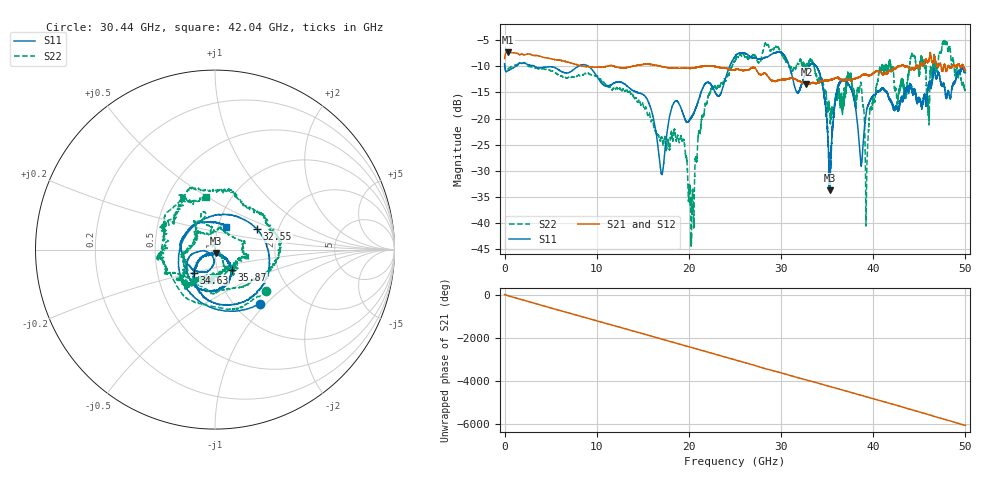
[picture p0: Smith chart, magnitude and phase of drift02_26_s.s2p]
!Created with skrf (http://scikit-rf.org).
# Hz S RI R 50.0
!freq ReS11 ImS11 ReS21 ImS21 ReS12 ImS12 ReS22 ImS22
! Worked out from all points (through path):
!   10001 points, 300 kHz to 50 GHz, reference 50 ohm
!   highest |S21| = -7.32 dB at 375.3 MHz (marker M1); lowest = -13.4 dB at 32.75 GHz (marker M2)
!   group delay of S21, straight-line fit = 335 ps
!   lowest |S11| = -33.8 dB at 35.31 GHz (marker M3), VSWR 1.04, Z = 50.5 - j2.01 ohm
!   |S11| at or under -10 dB: 3.235 GHz to 8.009 GHz (4.774 GHz wide, 84.9 % of centre); 9.104 GHz to 24.42 GHz (15.31 GHz wide, 91.4 % of centre); 33.83 GHz to end of sweep (the widest 3 of 8)
!   |S22| runs from -44.4 to -5.1 dB; largest |S21 - S12| = 0.015
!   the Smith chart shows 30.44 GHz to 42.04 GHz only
!   S11 on the Smith chart (normalised r, x): 30.44 GHz: 1.30, -0.92; 32.55 GHz: 1.55, +0.38; 34.63 GHz: 0.76, -0.20; 35.87 GHz: 1.18, -0.27; 42.04 GHz: 1.09, +0.28
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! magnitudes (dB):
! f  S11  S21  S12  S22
! 300 kHz  -9.5  -8.5  -8.5  -9.5
! 375.3 MHz  -10.8  -7.3  -7.3  -10.5
! 8.335 GHz  -9.7  -9.9  -9.9  -11.6
! 16.67 GHz  -25.7  -9.9  -9.9  -23.2
! 19.31 GHz  -18.8  -10.4  -10.3  -24.4
! 20.35 GHz  -19.5  -10.3  -10.3  -35.1
! 21.94 GHz  -13.1  -10.0  -10.0  -17.0
! 25 GHz  -8.1  -10.6  -10.7  -9.0
! 30.44 GHz  -8.1  -12.5  -12.5  -8.7
! 32.55 GHz  -11.7  -13.2  -13.3  -9.9
! 32.75 GHz  -10.8  -13.4  -13.5  -9.8
! 33.34 GHz  -9.5  -13.1  -13.2  -9.0
! 34.63 GHz  -15.1  -12.8  -12.7  -14.2
! 35.31 GHz  -33.8  -12.6  -12.5  -19.7
! 35.87 GHz  -16.7  -12.2  -12.3  -16.2
! 37.44 GHz  -13.8  -12.6  -12.6  -12.0
! 38.54 GHz  -26.0  -12.0  -12.0  -14.1
! 39.31 GHz  -18.3  -11.6  -11.6  -29.2
! 41.67 GHz  -15.9  -10.9  -11.0  -9.8
! 42.04 GHz  -17.1  -10.8  -10.8  -10.6
! 47.77 GHz  -14.4  -9.8  -9.8  -5.3
! 50 GHz  -11.2  -10.9  -10.9  -14.4
